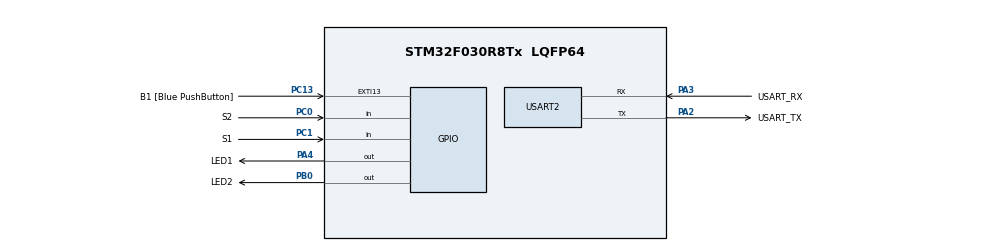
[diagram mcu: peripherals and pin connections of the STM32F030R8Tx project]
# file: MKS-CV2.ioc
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Mcu.Family=STM32F0
Mcu.Name=STM32F030R8Tx
Mcu.Package=LQFP64
PA13.GPIO_Label=TMS
PA13.Mode=Serial_Wire
PA13.Signal=SYS_SWDIO
PA14.GPIO_Label=TCK
PA14.Mode=Serial_Wire
PA14.Signal=SYS_SWCLK
PA2.GPIO_Label=USART_TX
PA2.GPIO_Mode=GPIO_MODE_AF_PP
PA2.GPIO_PuPd=GPIO_NOPULL
PA2.GPIO_Speed=GPIO_SPEED_FREQ_LOW
PA2.Mode=Asynchronous
PA2.Signal=USART2_TX
PA3.GPIO_Label=USART_RX
PA3.GPIO_Mode=GPIO_MODE_AF_PP
PA3.GPIO_PuPd=GPIO_NOPULL
PA3.GPIO_Speed=GPIO_SPEED_FREQ_LOW
PA3.Mode=Asynchronous
PA3.Signal=USART2_RX
PA4.GPIO_Label=LED1
PA4.Signal=GPIO_Output
PB0.GPIO_Label=LED2
PB0.Signal=GPIO_Output
PC0.GPIO_Label=S2
PC0.GPIO_PuPd=GPIO_PULLUP
PC0.Signal=GPIO_Input
PC1.GPIO_Label=S1
PC1.GPIO_PuPd=GPIO_PULLUP
PC1.Signal=GPIO_Input
PC13.GPIO_Label=B1 [Blue PushButton]
PC13.GPIO_ModeDefaultEXTI=GPIO_MODE_IT_FALLING
PC13.Signal=GPXTI13
PC14-OSC32_IN.Mode=LSE-External-Oscillator
PC14-OSC32_IN.Signal=RCC_OSC32_IN
PC15-OSC32_OUT.Mode=LSE-External-Oscillator
PC15-OSC32_OUT.Signal=RCC_OSC32_OUT
PF0-OSC_IN.Mode=HSE-External-Clock-Source
PF0-OSC_IN.Signal=RCC_OSC_IN
PF1-OSC_OUT.Signal=RCC_OSC_OUT
ProjectManager.HeapSize=0x200
ProjectManager.StackSize=0x400
ProjectManager.TargetToolchain=STM32CubeIDE
RCC.AHBFreq_Value=48000000
RCC.APB1Freq_Value=48000000
RCC.APB1TimFreq_Value=48000000
RCC.HCLKFreq_Value=48000000
RCC.PLLMUL=RCC_PLL_MUL12
RCC.SYSCLKFreq_VALUE=48000000
RCC.SYSCLKSource=RCC_SYSCLKSOURCE_PLLCLK
USART2.VirtualMode-Asynchronous=VM_ASYNC
board=NUCLEO-F030R8

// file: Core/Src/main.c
/* USER CODE BEGIN Header */
/**
  ******************************************************************************
  * @file           : main.c
  * @brief          : Main program body
  ******************************************************************************
  * @attention
  *
  * Copyright (c) 2023 STMicroelectronics.
  * All rights reserved.
  *
  * This software is licensed under terms that can be found in the LICENSE file
  * in the root directory of this software component.
  * If no LICENSE file comes with this software, it is provided AS-IS.
  *
  ******************************************************************************
  */
/* USER CODE END Header */
#include "main.h"

/* USER CODE BEGIN Includes */
	volatile uint32_t Tick;
/* USER CODE END Includes */

/* USER CODE BEGIN PD */
#define LED_TIME_BLINK 300
#define WAIT_TIME_LONG 40
#define WAIT_TIME_SHORT 5
#define LED_TIME_SHORT 100
#define LED_TIME_LONG  1000

void blikac(void)
{
	static uint32_t delay;

	if (Tick > delay + LED_TIME_BLINK)
	{
		LL_GPIO_TogglePin(LED1_GPIO_Port, LED1_Pin);
		delay = Tick;
	}
}

void tlacitka (void)
{
	static uint32_t delay;
	static uint32_t delay2;
	static uint32_t off_time;

	if(Tick > delay + WAIT_TIME_LONG)
	{

/*
		static uint32_t old_s2;
		uint32_t new_s2 = LL_GPIO_IsInputPinSet(S2_GPIO_Port, S2_Pin);

		if (old_s2 && !new_s2) // falling edge
		{
			off_time = Tick + LED_TIME_SHORT;
			LL_GPIO_SetOutputPin(LED2_GPIO_Port, LED2_Pin);
			delay = Tick;
		}

		old_s2 = new_s2;

*/
		static uint32_t old_s1;
		uint32_t new_s1 = LL_GPIO_IsInputPinSet(S1_GPIO_Port, S1_Pin);

		if (old_s1 && !new_s1) // falling edge
		{
			off_time = Tick + LED_TIME_LONG;
			LL_GPIO_SetOutputPin(LED2_GPIO_Port, LED2_Pin);
			delay = Tick;
		}

		old_s1 = new_s1;

	}

	if(Tick > delay2 + WAIT_TIME_SHORT)
	{
		static uint16_t debounce = 0xFFFF;

		debounce <<= 1;
		if(LL_GPIO_IsInputPinSet(S2_GPIO_Port, S2_Pin))
		{
			debounce |= 0x0001;
			delay2 = Tick;
		}
		if(debounce == 0x7FFF)
		{
			off_time = Tick + LED_TIME_SHORT;
			LL_GPIO_SetOutputPin(LED2_GPIO_Port, LED2_Pin);
			debounce = 0xFFFF;
		}
	}

	if (Tick > off_time)
	{
		LL_GPIO_ResetOutputPin(LED2_GPIO_Port, LED2_Pin);
	}

}

/* USER CODE END PD */

void SystemClock_Config(void);
static void MX_GPIO_Init(void);
static void MX_USART2_UART_Init(void);

int main(void)
{

  /* MCU Configuration--------------------------------------------------------*/

  /* Reset of all peripherals, Initializes the Flash interface and the Systick. */
  LL_APB1_GRP2_EnableClock(LL_APB1_GRP2_PERIPH_SYSCFG);
  LL_APB1_GRP1_EnableClock(LL_APB1_GRP1_PERIPH_PWR);

  /* Configure the system clock */
  SystemClock_Config();

  /* Initialize all configured peripherals */
  MX_GPIO_Init();
  MX_USART2_UART_Init();
  /* USER CODE BEGIN 2 */
  LL_SYSTICK_EnableIT();
  /* USER CODE END 2 */

  /* Infinite loop */
  while (1)
  {
	  blikac();
	  tlacitka();
  }
}

void SystemClock_Config(void)
{
  LL_FLASH_SetLatency(LL_FLASH_LATENCY_1);
  while(LL_FLASH_GetLatency() != LL_FLASH_LATENCY_1)
  {
  }
  LL_RCC_HSI_Enable();

   /* Wait till HSI is ready */
  while(LL_RCC_HSI_IsReady() != 1)
  {

  }
  LL_RCC_HSI_SetCalibTrimming(16);
  LL_RCC_PLL_ConfigDomain_SYS(LL_RCC_PLLSOURCE_HSI_DIV_2, LL_RCC_PLL_MUL_12);
  LL_RCC_PLL_Enable();

   /* Wait till PLL is ready */
  while(LL_RCC_PLL_IsReady() != 1)
  {

  }
  LL_RCC_SetAHBPrescaler(LL_RCC_SYSCLK_DIV_1);
  LL_RCC_SetAPB1Prescaler(LL_RCC_APB1_DIV_1);
  LL_RCC_SetSysClkSource(LL_RCC_SYS_CLKSOURCE_PLL);

   /* Wait till System clock is ready */
  while(LL_RCC_GetSysClkSource() != LL_RCC_SYS_CLKSOURCE_STATUS_PLL)
  {

  }
  LL_Init1msTick(48000000);
  LL_SetSystemCoreClock(48000000);
}

static void MX_USART2_UART_Init(void)
{

  LL_USART_InitTypeDef USART_InitStruct = {0};

  LL_GPIO_InitTypeDef GPIO_InitStruct = {0};

  /* Peripheral clock enable */
  LL_APB1_GRP1_EnableClock(LL_APB1_GRP1_PERIPH_USART2);

  LL_AHB1_GRP1_EnableClock(LL_AHB1_GRP1_PERIPH_GPIOA);
  /**USART2 GPIO Configuration
  PA2   ------> USART2_TX
  PA3   ------> USART2_RX
  */
  GPIO_InitStruct.Pin = USART_TX_Pin;
  GPIO_InitStruct.Mode = LL_GPIO_MODE_ALTERNATE;
  GPIO_InitStruct.Speed = LL_GPIO_SPEED_FREQ_LOW;
  GPIO_InitStruct.OutputType = LL_GPIO_OUTPUT_PUSHPULL;
  GPIO_InitStruct.Pull = LL_GPIO_PULL_NO;
  GPIO_InitStruct.Alternate = LL_GPIO_AF_1;
  LL_GPIO_Init(USART_TX_GPIO_Port, &GPIO_InitStruct);

  GPIO_InitStruct.Pin = USART_RX_Pin;
  GPIO_InitStruct.Mode = LL_GPIO_MODE_ALTERNATE;
  GPIO_InitStruct.Speed = LL_GPIO_SPEED_FREQ_LOW;
  GPIO_InitStruct.OutputType = LL_GPIO_OUTPUT_PUSHPULL;
  GPIO_InitStruct.Pull = LL_GPIO_PULL_NO;
  GPIO_InitStruct.Alternate = LL_GPIO_AF_1;
  LL_GPIO_Init(USART_RX_GPIO_Port, &GPIO_InitStruct);

  USART_InitStruct.BaudRate = 38400;
  USART_InitStruct.DataWidth = LL_USART_DATAWIDTH_8B;
  USART_InitStruct.StopBits = LL_USART_STOPBITS_1;
  USART_InitStruct.Parity = LL_USART_PARITY_NONE;
  USART_InitStruct.TransferDirection = LL_USART_DIRECTION_TX_RX;
  USART_InitStruct.HardwareFlowControl = LL_USART_HWCONTROL_NONE;
  USART_InitStruct.OverSampling = LL_USART_OVERSAMPLING_16;
  LL_USART_Init(USART2, &USART_InitStruct);
  LL_USART_DisableIT_CTS(USART2);
  LL_USART_ConfigAsyncMode(USART2);
  LL_USART_Enable(USART2);

}

static void MX_GPIO_Init(void)
{
  LL_EXTI_InitTypeDef EXTI_InitStruct = {0};
  LL_GPIO_InitTypeDef GPIO_InitStruct = {0};

  /* GPIO Ports Clock Enable */
  LL_AHB1_GRP1_EnableClock(LL_AHB1_GRP1_PERIPH_GPIOC);
  LL_AHB1_GRP1_EnableClock(LL_AHB1_GRP1_PERIPH_GPIOF);
  LL_AHB1_GRP1_EnableClock(LL_AHB1_GRP1_PERIPH_GPIOA);
  LL_AHB1_GRP1_EnableClock(LL_AHB1_GRP1_PERIPH_GPIOB);

  /**/
  LL_GPIO_ResetOutputPin(LED1_GPIO_Port, LED1_Pin);

  /**/
  LL_GPIO_ResetOutputPin(LED2_GPIO_Port, LED2_Pin);

  /**/
  LL_SYSCFG_SetEXTISource(LL_SYSCFG_EXTI_PORTC, LL_SYSCFG_EXTI_LINE13);

  /**/
  LL_GPIO_SetPinPull(B1_GPIO_Port, B1_Pin, LL_GPIO_PULL_NO);

  /**/
  LL_GPIO_SetPinMode(B1_GPIO_Port, B1_Pin, LL_GPIO_MODE_INPUT);

  /**/
  EXTI_InitStruct.Line_0_31 = LL_EXTI_LINE_13;
  EXTI_InitStruct.LineCommand = ENABLE;
  EXTI_InitStruct.Mode = LL_EXTI_MODE_IT;
  EXTI_InitStruct.Trigger = LL_EXTI_TRIGGER_FALLING;
  LL_EXTI_Init(&EXTI_InitStruct);

  /**/
  GPIO_InitStruct.Pin = S2_Pin;
  GPIO_InitStruct.Mode = LL_GPIO_MODE_INPUT;
  GPIO_InitStruct.Pull = LL_GPIO_PULL_UP;
  LL_GPIO_Init(S2_GPIO_Port, &GPIO_InitStruct);

  /**/
  GPIO_InitStruct.Pin = S1_Pin;
  GPIO_InitStruct.Mode = LL_GPIO_MODE_INPUT;
  GPIO_InitStruct.Pull = LL_GPIO_PULL_UP;
  LL_GPIO_Init(S1_GPIO_Port, &GPIO_InitStruct);

  /**/
  GPIO_InitStruct.Pin = LED1_Pin;
  GPIO_InitStruct.Mode = LL_GPIO_MODE_OUTPUT;
  GPIO_InitStruct.Speed = LL_GPIO_SPEED_FREQ_LOW;
  GPIO_InitStruct.OutputType = LL_GPIO_OUTPUT_PUSHPULL;
  GPIO_InitStruct.Pull = LL_GPIO_PULL_NO;
  LL_GPIO_Init(LED1_GPIO_Port, &GPIO_InitStruct);

  /**/
  GPIO_InitStruct.Pin = LED2_Pin;
  GPIO_InitStruct.Mode = LL_GPIO_MODE_OUTPUT;
  GPIO_InitStruct.Speed = LL_GPIO_SPEED_FREQ_LOW;
  GPIO_InitStruct.OutputType = LL_GPIO_OUTPUT_PUSHPULL;
  GPIO_InitStruct.Pull = LL_GPIO_PULL_NO;
  LL_GPIO_Init(LED2_GPIO_Port, &GPIO_InitStruct);

}

void Error_Handler(void)
{
  __disable_irq();
  while (1)
  {
  }
}
